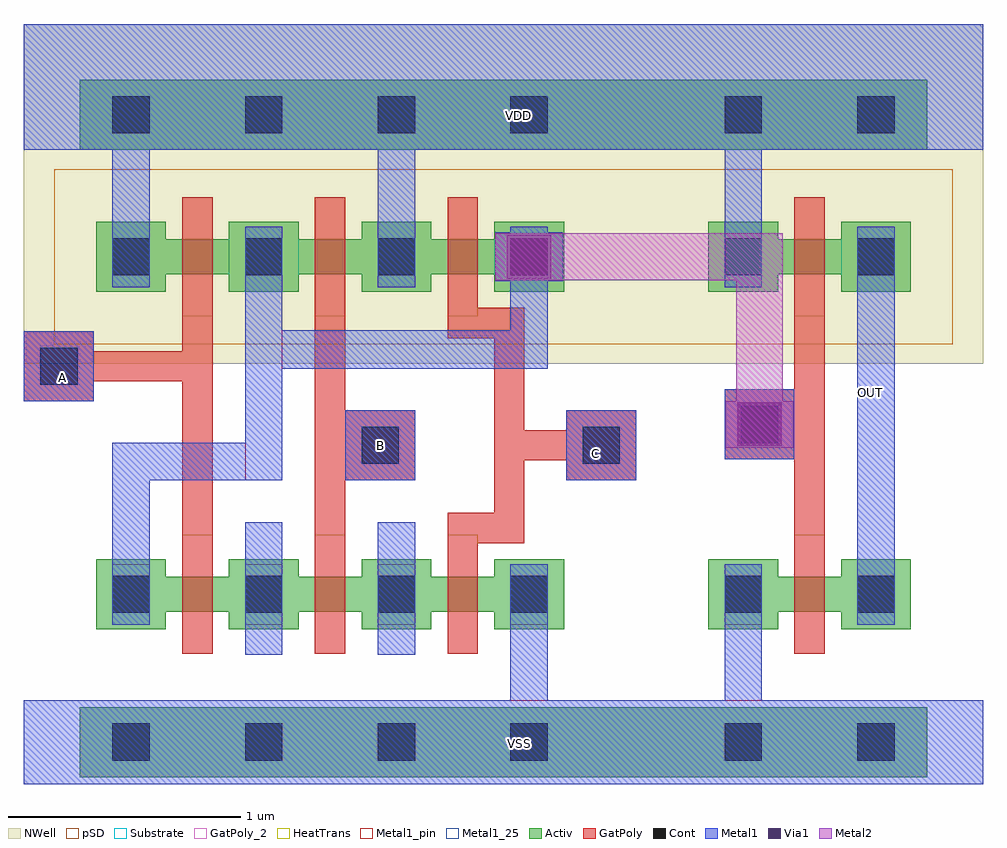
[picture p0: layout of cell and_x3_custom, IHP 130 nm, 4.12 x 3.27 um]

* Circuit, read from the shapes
.subckt and_x3_custom A B C OUT VDD VSS
XM1 n1 A nand_x3_custom_1/OUT VSS sg13_lv_nmos w=0.15u l=0.13u
XM2 n2 B n1 VSS sg13_lv_nmos w=0.15u l=0.13u
XM3 VSS C n2 VSS sg13_lv_nmos w=0.15u l=0.13u
XM4 OUT nand_x3_custom_1/OUT VSS VSS sg13_lv_nmos w=0.15u l=0.13u
XM5 nand_x3_custom_1/OUT A VDD VDD sg13_lv_pmos w=0.15u l=0.13u
XM6 VDD B nand_x3_custom_1/OUT VDD sg13_lv_pmos w=0.15u l=0.13u
XM7 nand_x3_custom_1/OUT C VDD VDD sg13_lv_pmos w=0.15u l=0.13u
XM8 OUT nand_x3_custom_1/OUT VDD VDD sg13_lv_pmos w=0.15u l=0.13u
.ends

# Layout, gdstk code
from math import pi, radians
import gdstk
lib = gdstk.Library(unit=1e-6, precision=5e-09)
def R(c, l, rs):  # rectangles x0, y0, x1, y1
    for r in rs: c.add(gdstk.rectangle(r[:2], r[2:], *l))
def A(c, l, x, y, w, h, nx, ny, dx, dy):  # array of equal rectangles
    R(c, l, [(x+i*dx, y+j*dy, x+i*dx+w, y+j*dy+h) for i in range(nx) for j in range(ny)])
Activ = (1, 0)
GatPoly = (5, 0)
GatPoly_2 = (5, 2)
Cont = (6, 0)
Metal1 = (8, 0)
Metal1_pin = (8, 2)
Metal1_25 = (8, 25)
Metal2 = (10, 0)
pSD = (14, 0)
Via1 = (19, 0)
NWell = (31, 0)
Substrate = (40, 0)
HeatTrans = (51, 0)

pmos_1 = lib.new_cell('pmos$1')
R(pmos_1, Activ, [(0,0,0.3,0.3), (0.57,0,0.87,0.3), (0,0.075,0.87,0.225)])
R(pmos_1, GatPoly, [(0.37,-0.105,0.5,0.405), (0.37,-0.105,0.5,0.405)])
R(pmos_1, Cont, [(0.07,0.07,0.23,0.23), (0.64,0.07,0.8,0.23)])
R(pmos_1, Metal1, [(0.07,0.02,0.23,0.28), (0.07,0.02,0.23,0.28), (0.64,0.02,0.8,0.28), (0.64,0.02,0.8,0.28)])
R(pmos_1, pSD, [(-0.18,-0.225,1.05,0.525)])
R(pmos_1, NWell, [(-0.31,-0.31,1.18,0.61)])
R(pmos_1, Substrate, [(0.57,0,0.87,0.3)])
R(pmos_1, HeatTrans, [(0.37,-0.105,0.5,0.405)])
pmos_1.add(gdstk.Label('pmos', (0.435,0.15), layer=63, texttype=0))
pmos_1.add(gdstk.Label('pmos', (0.435,0.15), layer=51, texttype=0))

nmos_1 = lib.new_cell('nmos$1')
R(nmos_1, Activ, [(0,0,0.3,0.3), (0.57,0,0.87,0.3), (0,0.075,0.87,0.225)])
R(nmos_1, GatPoly, [(0.37,-0.105,0.5,0.405)])
R(nmos_1, GatPoly_2, [(0.37,-0.105,0.5,0.405)])
R(nmos_1, Cont, [(0.07,0.07,0.23,0.23), (0.64,0.07,0.8,0.23)])
R(nmos_1, Metal1, [(0.07,0.02,0.23,0.28), (0.64,0.02,0.8,0.28)])
R(nmos_1, Metal1_pin, [(0.07,0.02,0.23,0.28), (0.64,0.02,0.8,0.28)])
R(nmos_1, HeatTrans, [(0.37,-0.105,0.5,0.405)])
nmos_1.add(gdstk.Label('nmos', (0.435,0.15), layer=63, texttype=0))
nmos_1.add(gdstk.Label('nmos', (0.435,0.15), layer=51, texttype=0))

inv = lib.new_cell('inv')
R(inv, Activ, [(0.48,-0.04,1.49,0.26), (0.48,2.655,1.49,2.955)])
R(inv, GatPoly, [(0.92,0.76,1.05,2.45), (0.62,1.325,0.92,1.625)])
R(inv, Cont, [(0.62,0.03,0.78,0.19), (1.19,0.03,1.35,0.19), (0.69,1.395,0.85,1.555), (0.62,2.725,0.78,2.885), (1.19,2.725,1.35,2.885)])
R(inv, Metal1, [(0.24,-0.07,1.73,0.29), (0.62,-0.04,0.78,0.875), (1.19,0.615,1.35,2.325), (0.62,1.325,0.92,1.625), (0.62,2.065,0.78,2.955), (0.24,2.655,1.73,3.195)])
R(inv, Metal1_pin, [(0.24,-0.07,1.73,0.29), (1.19,0.615,1.35,2.325), (0.62,1.325,0.92,1.625), (0.24,2.655,1.73,3.195)])
R(inv, pSD, [(0.24,-0.07,1.73,0.29)])
R(inv, NWell, [(0.24,2.655,1.73,3.195)])
inv.add(gdstk.Reference(pmos_1, (0.55,2.045)))
inv.add(gdstk.Reference(nmos_1, (0.55,0.595)))
inv.add(gdstk.Label('VSS', (0.64,0.09), layer=8, texttype=25))
inv.add(gdstk.Label('VDD', (0.675,2.805), layer=8, texttype=25))
inv.add(gdstk.Label('VIN', (0.73,1.475), layer=8, texttype=25))
inv.add(gdstk.Label('VOUT', (1.2,1.665), layer=8, texttype=25))

pmos = lib.new_cell('pmos')
R(pmos, Activ, [(0,0,0.3,0.3), (0.57,0,0.87,0.3), (0,0.075,0.87,0.225)])
R(pmos, GatPoly, [(0.37,-0.105,0.5,0.405), (0.37,-0.105,0.5,0.405)])
R(pmos, Cont, [(0.07,0.07,0.23,0.23), (0.64,0.07,0.8,0.23)])
R(pmos, Metal1, [(0.07,0.02,0.23,0.28), (0.07,0.02,0.23,0.28), (0.64,0.02,0.8,0.28), (0.64,0.02,0.8,0.28)])
R(pmos, pSD, [(-0.18,-0.225,1.05,0.525)])
R(pmos, NWell, [(-0.31,-0.31,1.18,0.61)])
R(pmos, Substrate, [(0.57,0,0.87,0.3)])
R(pmos, HeatTrans, [(0.37,-0.105,0.5,0.405)])
pmos.add(gdstk.Label('pmos', (0.435,0.15), layer=63, texttype=0))
pmos.add(gdstk.Label('pmos', (0.435,0.15), layer=51, texttype=0))

nmos = lib.new_cell('nmos')
R(nmos, Activ, [(0,0,0.3,0.3), (0.57,0,0.87,0.3), (0,0.075,0.87,0.225)])
R(nmos, GatPoly, [(0.37,-0.105,0.5,0.405)])
R(nmos, GatPoly_2, [(0.37,-0.105,0.5,0.405)])
R(nmos, Cont, [(0.07,0.07,0.23,0.23), (0.64,0.07,0.8,0.23)])
R(nmos, Metal1, [(0.07,0.02,0.23,0.28), (0.64,0.02,0.8,0.28)])
R(nmos, Metal1_pin, [(0.07,0.02,0.23,0.28), (0.64,0.02,0.8,0.28)])
R(nmos, HeatTrans, [(0.37,-0.105,0.5,0.405)])
nmos.add(gdstk.Label('nmos', (0.435,0.15), layer=63, texttype=0))
nmos.add(gdstk.Label('nmos', (0.435,0.15), layer=51, texttype=0))

nand_x3_custom = lib.new_cell('nand_x3_custom')
R(nand_x3_custom, Activ, [(1.06,2.78,3.21,3.08), (1.06,5.475,3.21,5.775)])
R(nand_x3_custom, GatPoly, [(1.5,3.49,1.63,5.27), (2.07,3.49,2.2,5.27), (2.64,3.785,2.97,3.915), (2.84,3.785,2.97,4.795), (2.2,4.055,2.5,4.355), (3.15,4.055,3.45,4.355), (2.97,4.14,3.15,4.27), (0.82,4.395,1.12,4.695), (1.12,4.48,1.5,4.61), (2.64,4.665,2.97,4.795)])
A(nand_x3_custom, Cont, 1.2, 2.85, 0.16, 0.16, 4, 2, 0.57, 2.695)
R(nand_x3_custom, Cont, [(2.27,4.125,2.43,4.285), (3.22,4.125,3.38,4.285), (0.89,4.465,1.05,4.625)])
R(nand_x3_custom, Metal1, [(0.82,2.75,3.45,3.11), (2.91,2.78,3.07,3.695), (1.77,3.305,1.93,3.875), (2.34,3.305,2.5,3.875), (1.2,3.435,1.36,4.215), (1.2,4.055,1.93,4.215), (1.77,4.055,1.93,5.145), (2.2,4.055,2.5,4.355), (3.15,4.055,3.45,4.355), (0.82,4.395,1.12,4.695), (1.77,4.535,3.07,4.7), (2.91,4.535,3.07,5.145), (1.2,4.885,1.36,5.775), (2.34,4.885,2.5,5.775), (0.82,5.475,3.45,6.015)])
R(nand_x3_custom, Metal1_pin, [(0.82,2.75,3.45,3.11), (1.77,4.055,1.93,5.145), (2.2,4.055,2.5,4.355), (3.15,4.055,3.45,4.355), (0.82,4.395,1.12,4.695), (0.82,5.475,3.45,6.015)])
R(nand_x3_custom, pSD, [(0.82,2.75,3.45,3.11)])
R(nand_x3_custom, NWell, [(0.82,5.475,3.45,6.015)])
nand_x3_custom.add(gdstk.Reference(pmos, (2.57,5.165), rotation=pi))
nand_x3_custom.add(gdstk.Reference(pmos, (2.27,4.865)))
nand_x3_custom.add(gdstk.Reference(nmos, (2,3.715), rotation=pi))
nand_x3_custom.add(gdstk.Reference(nmos, (3.14,3.715), rotation=pi))
nand_x3_custom.add(gdstk.Reference(pmos, (1.13,4.865)))
nand_x3_custom.add(gdstk.Reference(nmos, (2.57,3.715), rotation=pi))
nand_x3_custom.add(gdstk.Label('VDD', (2.38,5.575), layer=8, texttype=25))
nand_x3_custom.add(gdstk.Label('VSS', (2.37,2.89), layer=8, texttype=25))
nand_x3_custom.add(gdstk.Label('A', (0.93,4.47), layer=8, texttype=25))
nand_x3_custom.add(gdstk.Label('C', (3.295,4.19), layer=8, texttype=25))
nand_x3_custom.add(gdstk.Label('B', (2.28,4.2), layer=8, texttype=25))
nand_x3_custom.add(gdstk.Label('OUT', (1.785,4.205), layer=8, texttype=25))

and_x3_custom = lib.new_cell('and_x3_custom')
R(and_x3_custom, Activ, [(3.21,2.78,3.69,3.08), (3.21,5.475,3.69,5.775)])
R(and_x3_custom, Metal1, [(3.835,4.19,4.125,4.4), (2.845,4.91,3.135,5.12)])
R(and_x3_custom, Metal1_pin, [(0.82,2.75,4.94,3.11), (2.2,4.055,2.5,4.355), (3.15,4.055,3.45,4.355), (0.82,4.395,1.12,4.695), (0.82,5.475,4.94,6.015)])
R(and_x3_custom, Metal1_25, [(4.4,3.435,4.56,5.145)])
R(and_x3_custom, Metal2, [(3.835,4.195,4.125,4.395), (3.88,4.2,4.08,5.115), (2.845,4.915,3.135,5.115), (2.845,4.915,4.08,5.115)])
R(and_x3_custom, pSD, [(3.32,4.64,3.58,5.39)])
R(and_x3_custom, Via1, [(3.885,4.2,4.075,4.39), (2.895,4.92,3.085,5.11)])
and_x3_custom.add(gdstk.Reference(inv, (3.21,2.82)))
and_x3_custom.add(gdstk.Reference(nand_x3_custom, (0,0)))
and_x3_custom.add(gdstk.Label('B', (2.35,4.205), layer=8, texttype=25))
and_x3_custom.add(gdstk.Label('A', (0.985,4.495), layer=8, texttype=25))
and_x3_custom.add(gdstk.Label('C', (3.275,4.17), layer=8, texttype=25))
and_x3_custom.add(gdstk.Label('OUT', (4.455,4.43), layer=8, texttype=25))
and_x3_custom.add(gdstk.Label('VDD', (2.945,5.62), layer=8, texttype=25))
and_x3_custom.add(gdstk.Label('VSS', (2.95,2.925), layer=8, texttype=25))

lib.write_gds('and_x3_custom.gds')
